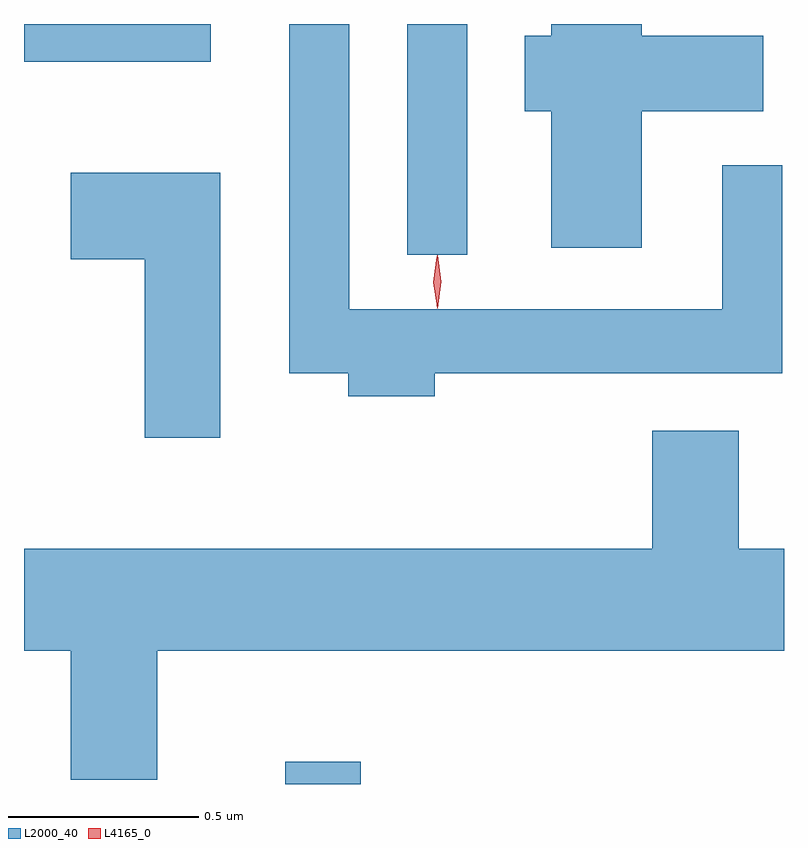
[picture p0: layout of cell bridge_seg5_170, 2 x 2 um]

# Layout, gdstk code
import gdstk
lib = gdstk.Library(unit=1e-6, precision=1e-09)
def R(c, l, rs):  # rectangles x0, y0, x1, y1
    for r in rs: c.add(gdstk.rectangle(r[:2], r[2:], *l))
def P(c, l, *ps):  # polygons
    for p in ps: c.add(gdstk.Polygon(p, *l))
L2000_40 = (2000, 40)
L4165_0 = (4165, 0)

bridge_seg5_170 = lib.new_cell('bridge_seg5_170')
R(bridge_seg5_170, L2000_40, [(1203.196,1418.705,1203.394,1418.764), (1203.516,1420.098,1203.674,1420.705), (1202.508,1420.606,1202.999,1420.705)])
P(bridge_seg5_170, L2000_40, [(1204.134,1420.476),(1204.454,1420.476),(1204.454,1420.674),(1204.134,1420.674),(1204.134,1420.705),(1203.896,1420.705),(1203.896,1420.674),(1203.826,1420.674),(1203.826,1420.476),(1203.896,1420.476),(1203.896,1420.116),(1204.134,1420.116)],
  [(1203.589,1419.786),(1204.504,1419.786),(1204.504,1420.333),(1204.346,1420.333),(1204.346,1419.954),(1203.364,1419.954),(1203.364,1420.705),(1203.206,1420.705),(1203.206,1419.786),(1203.361,1419.786),(1203.361,1419.726),(1203.589,1419.726)],
  [(1203.024,1420.314),(1202.631,1420.314),(1202.631,1420.086),(1202.826,1420.086),(1202.826,1419.616),(1203.024,1419.616)],
  [(1202.859,1419.056),(1204.508,1419.056),(1204.508,1419.324),(1204.389,1419.324),(1204.389,1419.634),(1204.161,1419.634),(1204.161,1419.324),(1202.508,1419.324),(1202.508,1419.056),(1202.631,1419.056),(1202.631,1418.716),(1202.859,1418.716)])
P(bridge_seg5_170, L4165_0, [(1203.595,1419.959),(1203.595,1419.96),(1203.585,1420.026),(1203.594,1420.092),(1203.595,1420.093),(1203.596,1420.092),(1203.605,1420.026),(1203.596,1419.96)],
  [(1203.596,1419.957),(1203.596,1419.957),(1203.586,1420.027),(1203.596,1420.096),(1203.596,1420.096),(1203.597,1420.096),(1203.606,1420.027),(1203.597,1419.957)])

lib.write_gds('bridge_seg5_170.gds')
